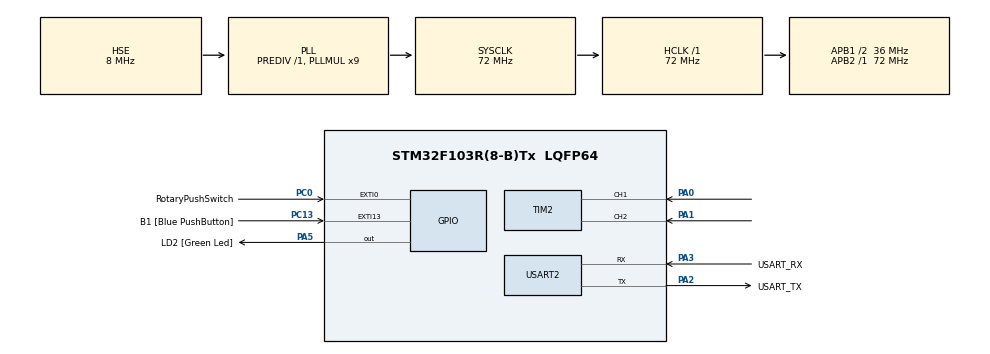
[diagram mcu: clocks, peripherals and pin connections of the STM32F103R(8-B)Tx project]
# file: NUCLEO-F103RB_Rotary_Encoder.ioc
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Mcu.Family=STM32F1
Mcu.Name=STM32F103R(8-B)Tx
Mcu.Package=LQFP64
NVIC.EXTI0_IRQn=true\:0\:0\:false\:false\:true\:true\:true\:true
NVIC.EXTI15_10_IRQn=true\:0\:0\:false\:false\:true\:true\:true\:true
NVIC.PriorityGroup=NVIC_PRIORITYGROUP_4
PA0-WKUP.Signal=S_TIM2_CH1_ETR
PA1.Signal=S_TIM2_CH2
PA13.GPIO_Label=TMS
PA13.Mode=Serial_Wire
PA13.Signal=SYS_JTMS-SWDIO
PA14.GPIO_Label=TCK
PA14.Mode=Serial_Wire
PA14.Signal=SYS_JTCK-SWCLK
PA2.GPIO_Label=USART_TX
PA2.GPIO_Mode=GPIO_MODE_AF_PP
PA2.GPIO_PuPd=GPIO_NOPULL
PA2.GPIO_Speed=GPIO_SPEED_FREQ_LOW
PA2.Mode=Asynchronous
PA2.Signal=USART2_TX
PA3.GPIO_Label=USART_RX
PA3.GPIO_Mode=GPIO_MODE_AF_PP
PA3.GPIO_PuPd=GPIO_NOPULL
PA3.GPIO_Speed=GPIO_SPEED_FREQ_LOW
PA3.Mode=Asynchronous
PA3.Signal=USART2_RX
PA5.GPIO_Label=LD2 [Green Led]
PA5.GPIO_ModeDefaultOutputPP=GPIO_MODE_OUTPUT_PP
PA5.GPIO_PuPd=GPIO_NOPULL
PA5.GPIO_Speed=GPIO_SPEED_FREQ_LOW
PA5.Signal=GPIO_Output
PB3.GPIO_Label=SWO
PB3.Signal=SYS_JTDO-TRACESWO
PC0.GPIO_Label=RotaryPushSwitch
PC0.GPIO_PuPd=GPIO_PULLUP
PC0.Signal=GPXTI0
PC13-TAMPER-RTC.GPIO_Label=B1 [Blue PushButton]
PC13-TAMPER-RTC.GPIO_PuPd=GPIO_NOPULL
PC13-TAMPER-RTC.Signal=GPXTI13
PC14-OSC32_IN.Mode=LSE-External-Oscillator
PC14-OSC32_IN.Signal=RCC_OSC32_IN
PC15-OSC32_OUT.Mode=LSE-External-Oscillator
PC15-OSC32_OUT.Signal=RCC_OSC32_OUT
PD0-OSC_IN.Mode=HSE-External-Clock-Source
PD0-OSC_IN.Signal=RCC_OSC_IN
PD1-OSC_OUT.Mode=HSE-External-Clock-Source
PD1-OSC_OUT.Signal=RCC_OSC_OUT
ProjectManager.HeapSize=0x200
ProjectManager.StackSize=0x400
ProjectManager.TargetToolchain=STM32CubeIDE
RCC.AHBFreq_Value=72000000
RCC.APB1CLKDivider=RCC_HCLK_DIV2
RCC.APB1Freq_Value=36000000
RCC.APB1TimFreq_Value=72000000
RCC.APB2Freq_Value=72000000
RCC.APB2TimFreq_Value=72000000
RCC.HCLKFreq_Value=72000000
RCC.PLLMUL=RCC_PLL_MUL9
RCC.PLLSourceVirtual=RCC_PLLSOURCE_HSE
RCC.RTCClockSelection=RCC_RTCCLKSOURCE_LSE
RCC.SYSCLKFreq_VALUE=72000000
RCC.SYSCLKSource=RCC_SYSCLKSOURCE_PLLCLK
RCC.USBFreq_Value=72000000
SH.S_TIM2_CH1_ETR.0=TIM2_CH1,Encoder_Interface
SH.S_TIM2_CH2.0=TIM2_CH2,Encoder_Interface
TIM2.AutoReloadPreload=TIM_AUTORELOAD_PRELOAD_ENABLE
TIM2.IC1Filter=10
TIM2.IC2Filter=10
USART2.VirtualMode=VM_ASYNC
board=NUCLEO-F103RB

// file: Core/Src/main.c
/* USER CODE BEGIN Header */
/**
  ******************************************************************************
  * @file           : main.c
  * @brief          : Main program body
  ******************************************************************************
  * @attention
  *
  * Copyright (c) 2024 STMicroelectronics.
  * All rights reserved.
  *
  * This software is licensed under terms that can be found in the LICENSE file
  * in the root directory of this software component.
  * If no LICENSE file comes with this software, it is provided AS-IS.
  *
  ******************************************************************************
  */
/* USER CODE END Header */
#include "main.h"

/* USER CODE BEGIN Includes */
#include <stdio.h> // printf()

/* USER CODE END Includes */

TIM_HandleTypeDef htim2;

UART_HandleTypeDef huart2;

void SystemClock_Config(void);
static void MX_GPIO_Init(void);
static void MX_USART2_UART_Init(void);
static void MX_TIM2_Init(void);

/* USER CODE BEGIN 0 */
#define HAL_SMALL_WAIT  40
// Define serial input and output functions using UART2
int __io_putchar(int ch)
{
    HAL_UART_Transmit(&huart2, (uint8_t *)&ch, 1, HAL_SMALL_WAIT);
    return 1;
}

// Read a character from the UART with small timeout
// This function works well if called within a 50ms or shorter loop, but may lose characters if
// data is received with any real speed.
// Use DMA for receive data if trying to perform higher speed communication (anything faster than typing).
// If HAL_UART_Receive() returns error, return EOF (-1), else return the character read
int __io_getchar(void)
{
    uint8_t byte;
    HAL_StatusTypeDef hal_status = HAL_UART_Receive(&huart2, &byte, sizeof(byte), HAL_SMALL_WAIT);
    if(HAL_OK == hal_status)
    {
        return byte;
    }
    else
        return EOF;
}

// Called when Rotary Encoder Switch Button is pressed
void HAL_GPIO_EXTI_Callback(uint16_t GPIO_Pin)
{
	/* Prevent unused argument(s) compilation warning */
	UNUSED(GPIO_Pin);
	printf("Switch, Pin: %u, Count: %d\n",GPIO_Pin, (int16_t)TIM2->CNT);
}
//HAL_StatusTypeDef HAL_EXTI_RegisterCallback(EXTI_HandleTypeDef *hexti, EXTI_CallbackIDTypeDef CallbackID, void (*pPendingCbfn)(void));

/* USER CODE END 0 */

int main(void)
{

  /* MCU Configuration--------------------------------------------------------*/

  /* Reset of all peripherals, Initializes the Flash interface and the Systick. */
  HAL_Init();

  /* Configure the system clock */
  SystemClock_Config();

  /* Initialize all configured peripherals */
  MX_GPIO_Init();
  MX_USART2_UART_Init();
  MX_TIM2_Init();
  /* USER CODE BEGIN 2 */
  setvbuf(stdout, NULL, _IONBF, 0);
  /* USER CODE END 2 */

  /* Infinite loop */
  /* USER CODE BEGIN WHILE */
  int16_t count=0;
  int16_t prev_count=100; // force display of position following each reset
  while (1)
  {
	// Read Rotary Encoder "position" via TIM2->CNT
	// The encoder uses PA0 and PA1
	count = (int16_t)TIM2->CNT;
	if(count !=prev_count){
		printf("%d\n",count);
		//printf("%d, A:%u, B:%u\n",count,HAL_GPIO_ReadPin(GPIOA, GPIO_PIN_0),HAL_GPIO_ReadPin(GPIOA, GPIO_PIN_1));
		prev_count = count;
	}
	// Read PA0 and turn the NUCLEO On-Board LED ON or OFF depending on the signal read
	if(GPIO_PIN_RESET == HAL_GPIO_ReadPin(GPIOA, GPIO_PIN_0)) // switch closed - grounded
		HAL_GPIO_WritePin(LD2_GPIO_Port, LD2_Pin, GPIO_PIN_SET); // turn ON the LED
	else
		HAL_GPIO_WritePin(LD2_GPIO_Port, LD2_Pin, GPIO_PIN_RESET);   // turn OFF the LED

    /* USER CODE END WHILE */

  }
}

void SystemClock_Config(void)
{
  RCC_OscInitTypeDef RCC_OscInitStruct = {0};
  RCC_ClkInitTypeDef RCC_ClkInitStruct = {0};

  /** Initializes the RCC Oscillators according to the specified parameters
  * in the RCC_OscInitTypeDef structure.
  */
  RCC_OscInitStruct.OscillatorType = RCC_OSCILLATORTYPE_HSE;
  RCC_OscInitStruct.HSEState = RCC_HSE_BYPASS;
  RCC_OscInitStruct.HSEPredivValue = RCC_HSE_PREDIV_DIV1;
  RCC_OscInitStruct.HSIState = RCC_HSI_ON;
  RCC_OscInitStruct.PLL.PLLState = RCC_PLL_ON;
  RCC_OscInitStruct.PLL.PLLSource = RCC_PLLSOURCE_HSE;
  RCC_OscInitStruct.PLL.PLLMUL = RCC_PLL_MUL9;
  if (HAL_RCC_OscConfig(&RCC_OscInitStruct) != HAL_OK)
  {
    Error_Handler();
  }

  /** Initializes the CPU, AHB and APB buses clocks
  */
  RCC_ClkInitStruct.ClockType = RCC_CLOCKTYPE_HCLK|RCC_CLOCKTYPE_SYSCLK
                              |RCC_CLOCKTYPE_PCLK1|RCC_CLOCKTYPE_PCLK2;
  RCC_ClkInitStruct.SYSCLKSource = RCC_SYSCLKSOURCE_PLLCLK;
  RCC_ClkInitStruct.AHBCLKDivider = RCC_SYSCLK_DIV1;
  RCC_ClkInitStruct.APB1CLKDivider = RCC_HCLK_DIV2;
  RCC_ClkInitStruct.APB2CLKDivider = RCC_HCLK_DIV1;

  if (HAL_RCC_ClockConfig(&RCC_ClkInitStruct, FLASH_LATENCY_2) != HAL_OK)
  {
    Error_Handler();
  }
}

static void MX_TIM2_Init(void)
{

  TIM_Encoder_InitTypeDef sConfig = {0};
  TIM_MasterConfigTypeDef sMasterConfig = {0};

  htim2.Instance = TIM2;
  htim2.Init.Prescaler = 0;
  htim2.Init.CounterMode = TIM_COUNTERMODE_UP;
  htim2.Init.Period = 65535;
  htim2.Init.ClockDivision = TIM_CLOCKDIVISION_DIV1;
  htim2.Init.AutoReloadPreload = TIM_AUTORELOAD_PRELOAD_ENABLE;
  sConfig.EncoderMode = TIM_ENCODERMODE_TI1;
  sConfig.IC1Polarity = TIM_ICPOLARITY_RISING;
  sConfig.IC1Selection = TIM_ICSELECTION_DIRECTTI;
  sConfig.IC1Prescaler = TIM_ICPSC_DIV1;
  sConfig.IC1Filter = 10;
  sConfig.IC2Polarity = TIM_ICPOLARITY_RISING;
  sConfig.IC2Selection = TIM_ICSELECTION_DIRECTTI;
  sConfig.IC2Prescaler = TIM_ICPSC_DIV1;
  sConfig.IC2Filter = 10;
  if (HAL_TIM_Encoder_Init(&htim2, &sConfig) != HAL_OK)
  {
    Error_Handler();
  }
  sMasterConfig.MasterOutputTrigger = TIM_TRGO_RESET;
  sMasterConfig.MasterSlaveMode = TIM_MASTERSLAVEMODE_DISABLE;
  if (HAL_TIMEx_MasterConfigSynchronization(&htim2, &sMasterConfig) != HAL_OK)
  {
    Error_Handler();
  }
  /* USER CODE BEGIN TIM2_Init 2 */
  HAL_TIM_Encoder_Start(&htim2, TIM_CHANNEL_ALL);
  /* USER CODE END TIM2_Init 2 */

}

static void MX_USART2_UART_Init(void)
{

  huart2.Instance = USART2;
  huart2.Init.BaudRate = 115200;
  huart2.Init.WordLength = UART_WORDLENGTH_8B;
  huart2.Init.StopBits = UART_STOPBITS_1;
  huart2.Init.Parity = UART_PARITY_NONE;
  huart2.Init.Mode = UART_MODE_TX_RX;
  huart2.Init.HwFlowCtl = UART_HWCONTROL_NONE;
  huart2.Init.OverSampling = UART_OVERSAMPLING_16;
  if (HAL_UART_Init(&huart2) != HAL_OK)
  {
    Error_Handler();
  }

}

static void MX_GPIO_Init(void)
{
  GPIO_InitTypeDef GPIO_InitStruct = {0};

  /* GPIO Ports Clock Enable */
  __HAL_RCC_GPIOC_CLK_ENABLE();
  __HAL_RCC_GPIOD_CLK_ENABLE();
  __HAL_RCC_GPIOA_CLK_ENABLE();
  __HAL_RCC_GPIOB_CLK_ENABLE();

  /*Configure GPIO pin Output Level */
  HAL_GPIO_WritePin(LD2_GPIO_Port, LD2_Pin, GPIO_PIN_RESET);

  /*Configure GPIO pin : B1_Pin */
  GPIO_InitStruct.Pin = B1_Pin;
  GPIO_InitStruct.Mode = GPIO_MODE_IT_RISING;
  GPIO_InitStruct.Pull = GPIO_NOPULL;
  HAL_GPIO_Init(B1_GPIO_Port, &GPIO_InitStruct);

  /*Configure GPIO pin : RotaryPushSwitch_Pin */
  GPIO_InitStruct.Pin = RotaryPushSwitch_Pin;
  GPIO_InitStruct.Mode = GPIO_MODE_IT_RISING;
  GPIO_InitStruct.Pull = GPIO_PULLUP;
  HAL_GPIO_Init(RotaryPushSwitch_GPIO_Port, &GPIO_InitStruct);

  /*Configure GPIO pin : LD2_Pin */
  GPIO_InitStruct.Pin = LD2_Pin;
  GPIO_InitStruct.Mode = GPIO_MODE_OUTPUT_PP;
  GPIO_InitStruct.Pull = GPIO_NOPULL;
  GPIO_InitStruct.Speed = GPIO_SPEED_FREQ_LOW;
  HAL_GPIO_Init(LD2_GPIO_Port, &GPIO_InitStruct);

  /* EXTI interrupt init*/
  HAL_NVIC_SetPriority(EXTI0_IRQn, 0, 0);
  HAL_NVIC_EnableIRQ(EXTI0_IRQn);

  HAL_NVIC_SetPriority(EXTI15_10_IRQn, 0, 0);
  HAL_NVIC_EnableIRQ(EXTI15_10_IRQn);

/* USER CODE BEGIN MX_GPIO_Init_2 */
  // Enable interrupt from Rotary Encoder push switch
  //HAL_NVIC_SetPriority(EXTI0_IRQn, 0, 0);
  //HAL_NVIC_EnableIRQ(EXTI0_IRQn);

/* USER CODE END MX_GPIO_Init_2 */
}

void Error_Handler(void)
{
  __disable_irq();
  while (1)
  {
  }
}
